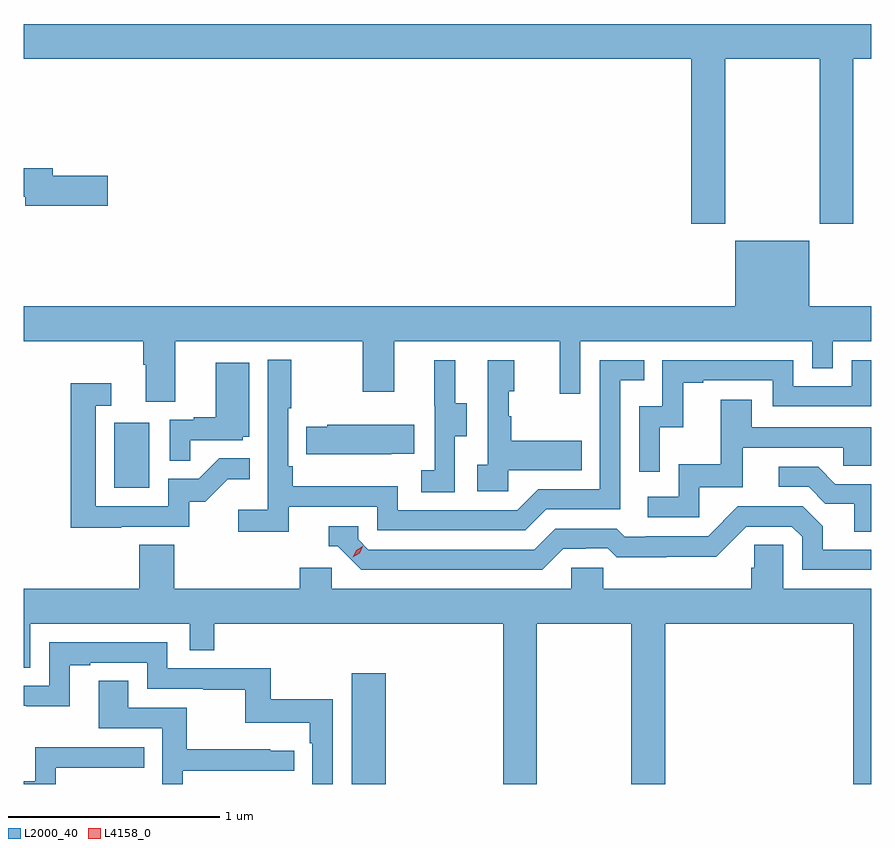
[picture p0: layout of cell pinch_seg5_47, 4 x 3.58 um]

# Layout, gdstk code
import gdstk
lib = gdstk.Library(unit=1e-6, precision=1e-09)
def R(c, l, rs):  # rectangles x0, y0, x1, y1
    for r in rs: c.add(gdstk.rectangle(r[:2], r[2:], *l))
def P(c, l, *ps):  # polygons
    for p in ps: c.add(gdstk.Polygon(p, *l))
L2000_40 = (2000, 40)
L4158_0 = (4158, 0)

pinch_seg5_47 = lib.new_cell('pinch_seg5_47')
R(pinch_seg5_47, L2000_40, [(1108.607,894.631,1108.768,895.153), (1107.488,896.028,1107.652,896.335)])
P(pinch_seg5_47, L2000_40, [(1110.369,898.052),(1110.814,898.052),(1110.814,897.273),(1110.974,897.273),(1110.974,898.052),(1111.059,898.052),(1111.059,898.216),(1107.059,898.216),(1107.059,898.052),(1110.209,898.052),(1110.209,897.273),(1110.369,897.273)],
  [(1107.457,897.5),(1107.196,897.5),(1107.196,897.536),(1107.059,897.536),(1107.059,897.4),(1107.068,897.4),(1107.068,897.358),(1107.457,897.358)],
  [(1107.775,896.72),(1108.66,896.72),(1108.66,896.481),(1108.807,896.481),(1108.807,896.72),(1109.588,896.72),(1109.588,896.472),(1109.685,896.472),(1109.685,896.72),(1110.78,896.72),(1110.78,896.593),(1110.876,896.593),(1110.876,896.72),(1111.059,896.72),(1111.059,896.884),(1110.766,896.884),(1110.766,897.193),(1110.416,897.193),(1110.416,896.884),(1107.059,896.884),(1107.059,896.72),(1107.623,896.72),(1107.623,896.608),(1107.635,896.608),(1107.635,896.434),(1107.775,896.434)],
  [(1108.31,895.938),(1108.728,895.938),(1108.728,895.827),(1109.425,895.827),(1109.524,895.926),(1109.874,895.926),(1109.874,896.535),(1109.987,896.535),(1109.987,896.631),(1109.778,896.631),(1109.778,896.022),(1109.487,896.022),(1109.388,895.923),(1108.824,895.923),(1108.824,896.035),(1108.328,896.035),(1108.328,896.131),(1108.308,896.131),(1108.308,896.404),(1108.321,896.404),(1108.321,896.632),(1108.212,896.632),(1108.212,895.924),(1108.071,895.924),(1108.071,895.822),(1108.31,895.822)],
  [(1110.06,896.315),(1110.17,896.315),(1110.17,896.523),(1110.265,896.523),(1110.265,896.535),(1110.594,896.535),(1110.594,896.412),(1111.059,896.412),(1111.059,896.631),(1110.966,896.631),(1110.966,896.508),(1110.69,896.508),(1110.69,896.631),(1110.072,896.631),(1110.072,896.412),(1109.964,896.412),(1109.964,896.103),(1110.06,896.103)],
  [(1109.346,896.111),(1109.693,896.111),(1109.693,896.251),(1109.359,896.251),(1109.359,896.366),(1109.349,896.366),(1109.349,896.484),(1109.374,896.484),(1109.374,896.629),(1109.25,896.629),(1109.25,896.138),(1109.199,896.138),(1109.199,896.013),(1109.346,896.013)],
  [(1109.094,896.272),(1109.149,896.272),(1109.149,896.427),(1109.095,896.427),(1109.095,896.629),(1108.997,896.629),(1108.997,896.415),(1108.998,896.415),(1108.998,896.111),(1108.935,896.111),(1108.935,896.008),(1109.094,896.008)],
  [(1107.845,896.253),(1108.092,896.253),(1108.092,896.268),(1108.123,896.268),(1108.123,896.617),(1107.965,896.617),(1107.965,896.362),(1107.861,896.362),(1107.861,896.349),(1107.75,896.349),(1107.75,896.155),(1107.845,896.155)],
  [(1107.521,895.845),(1107.84,895.845),(1107.84,895.962),(1107.916,895.962),(1108.023,896.069),(1108.127,896.069),(1108.127,896.168),(1107.983,896.168),(1107.885,896.07),(1107.741,896.07),(1107.741,895.941),(1107.399,895.941),(1107.399,896.415),(1107.472,896.415),(1107.472,896.521),(1107.283,896.521),(1107.283,895.84),(1107.521,895.84)],
  [(1110.246,896.031),(1110.451,896.031),(1110.451,896.217),(1110.925,896.217),(1110.925,896.133),(1111.059,896.133),(1111.059,896.313),(1110.493,896.313),(1110.493,896.443),(1110.349,896.443),(1110.349,896.14),(1110.15,896.14),(1110.15,895.986),(1110.003,895.986),(1110.003,895.89),(1110.246,895.89)],
  [(1108.793,896.189),(1108.901,896.189),(1108.901,896.326),(1108.491,896.326),(1108.491,896.316),(1108.393,896.316),(1108.393,896.186),(1108.793,896.186)],
  [(1111.059,896.046),(1110.889,896.046),(1110.808,896.127),(1110.621,896.127),(1110.621,896.034),(1110.762,896.034),(1110.842,895.954),(1110.977,895.954),(1110.977,895.822),(1111.059,895.822)],
  [(1109.605,895.74),(1109.712,895.74),(1109.712,895.743),(1109.815,895.743),(1109.857,895.701),(1110.09,895.701),(1110.09,895.703),(1110.326,895.703),(1110.468,895.845),(1110.684,895.845),(1110.732,895.797),(1110.732,895.641),(1111.059,895.641),(1111.059,895.737),(1110.829,895.737),(1110.829,895.847),(1110.735,895.941),(1110.429,895.941),(1110.288,895.8),(1109.995,895.8),(1109.995,895.797),(1109.896,895.797),(1109.857,895.836),(1109.568,895.836),(1109.469,895.737),(1108.686,895.737),(1108.638,895.785),(1108.638,895.848),(1108.499,895.848),(1108.499,895.752),(1108.542,895.752),(1108.653,895.641),(1109.506,895.641)],
  [(1109.481,895.388),(1109.926,895.388),(1109.926,894.631),(1110.086,894.631),(1110.086,895.388),(1110.974,895.388),(1110.974,894.631),(1111.059,894.631),(1111.059,895.552),(1110.642,895.552),(1110.642,895.76),(1110.505,895.76),(1110.505,895.65),(1110.491,895.65),(1110.491,895.552),(1109.793,895.552),(1109.793,895.65),(1109.643,895.65),(1109.643,895.552),(1108.512,895.552),(1108.512,895.65),(1108.361,895.65),(1108.361,895.552),(1107.77,895.552),(1107.77,895.76),(1107.605,895.76),(1107.605,895.552),(1107.059,895.552),(1107.059,895.18),(1107.091,895.18),(1107.091,895.388),(1107.843,895.388),(1107.843,895.261),(1107.959,895.261),(1107.959,895.388),(1109.321,895.388),(1109.321,894.631),(1109.481,894.631)],
  [(1108.518,895.03),(1108.225,895.03),(1108.225,895.176),(1107.738,895.176),(1107.738,895.299),(1107.18,895.299),(1107.18,895.095),(1107.059,895.095),(1107.059,894.999),(1107.072,894.999),(1107.072,894.998),(1107.277,894.998),(1107.277,895.191),(1107.373,895.191),(1107.373,895.203),(1107.642,895.203),(1107.642,895.08),(1107.907,895.08),(1107.907,895.075),(1108.104,895.075),(1108.104,894.92),(1108.409,894.92),(1108.409,894.824),(1108.422,894.824),(1108.422,894.631),(1108.518,894.631)],
  [(1107.81,894.693),(1108.336,894.693),(1108.336,894.789),(1108.223,894.789),(1108.223,894.794),(1107.83,894.794),(1107.83,894.99),(1107.553,894.99),(1107.553,895.118),(1107.413,895.118),(1107.413,894.894),(1107.714,894.894),(1107.714,894.631),(1107.81,894.631)],
  [(1107.21,894.708),(1107.629,894.708),(1107.629,894.804),(1107.114,894.804),(1107.114,894.643),(1107.059,894.643),(1107.059,894.631),(1107.21,894.631)])
P(pinch_seg5_47, L4158_0, [(1108.612,895.701),(1108.612,895.701),(1108.629,895.734),(1108.66,895.753),(1108.66,895.753),(1108.66,895.753),(1108.644,895.72),(1108.613,895.701)])

lib.write_gds('pinch_seg5_47.gds')
